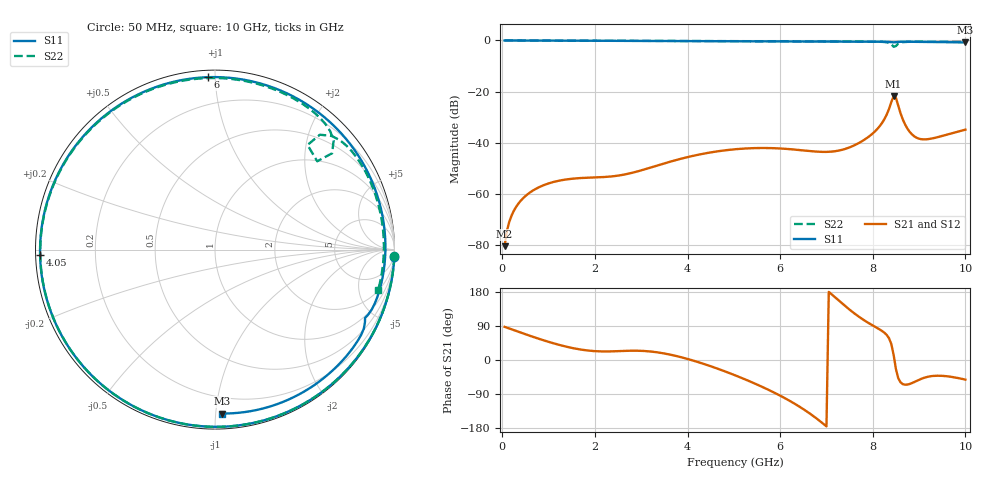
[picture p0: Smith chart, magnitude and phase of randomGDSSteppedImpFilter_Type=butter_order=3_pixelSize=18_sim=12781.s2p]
! freq	dB(S11)	phase(S11)	dB(S12)	phase(S12)
!  dB(S21)	phase(S21)	dB(S22)	phase(S22)
!S-par simulation data
#  GHz  S  DB  R 50
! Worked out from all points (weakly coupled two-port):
!   200 points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, 50 MHz to 10 GHz, reference 50 ohm
!   highest |S21| = -21.82 dB at 8.45 GHz (marker M1); lowest = -80.6 dB at 50 MHz (marker M2)
!   lowest |S11| = -0.8 dB at 10 GHz (marker M3), VSWR 22.28, Z = 4.67 - j51.9 ohm
!   |S11| at or under -10 dB: nowhere
!   |S22| runs from -2.5 to 0.0 dB; largest |S21 - S12| = 0
!   S11 on the Smith chart (normalised r, x): 50 MHz: 0, -48; 4.05 GHz: 0.01, -0.02; 6 GHz: 0.04, +0.96; 10 GHz: 0.09, -1.04
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0.05  -0.00 -2.4  -80.57 87.5  -80.57 87.5  -0.00 -2.1
0.1  -0.00 -4.8  -74.56 85.4  -74.56 85.4  -0.00 -4.3
0.2  -0.01 -9.5  -68.58 81.0  -68.58 81.0  -0.01 -8.5
0.5  -0.03 -23.6  -60.93 68.0  -60.93 68.0  -0.03 -21.1
1  -0.06 -46.8  -55.99 47.9  -55.99 47.9  -0.05 -41.7
1.75  -0.10 -80.5  -53.83 26.5  -53.83 26.5  -0.09 -71.5
2.55  -0.14 -115.0  -52.80 23.6  -52.80 23.6  -0.12 -101.4
3.4  -0.18 -150.7  -48.68 19.3  -48.68 19.3  -0.16 -131.4
4.05  -0.22 -178.1  -45.48 1.1  -45.48 1.1  -0.19 -153.5
4.55  -0.25 160.1  -43.69 -18.6  -43.69 -18.6  -0.22 -170.4
5.05  -0.28 137.6  -42.57 -41.5  -42.57 -41.5  -0.25 172.5
6  -0.34 92.4  -42.31 -94.1  -42.31 -94.1  -0.31 139.0
6.7  -0.38 57.7  -43.42 -146.4  -43.42 -146.4  -0.35 113.0
7.25  -0.40 30.6  -43.19 158.5  -43.19 158.5  -0.39 91.5
7.7  -0.43 9.0  -40.17 114.3  -40.17 114.3  -0.42 73.3
8.1  -0.48 -9.5  -34.62 84.1  -34.62 84.1  -0.49 56.1
8.35  -0.58 -20.9  -26.85 57.6  -26.85 57.6  -0.94 42.5
8.45  -0.74 -24.5  -21.82 13.6  -21.82 13.6  -2.47 40.8
8.55  -0.55 -28.0  -25.55 -48.0  -25.55 -48.0  -1.24 47.6
8.75  -0.51 -37.1  -34.58 -64.8  -34.58 -64.8  -0.55 35.7
8.95  -0.54 -45.6  -38.13 -55.0  -38.13 -55.0  -0.50 26.6
10  -0.78 -87.6  -34.94 -51.8  -34.94 -51.8  -0.57 -13.7
